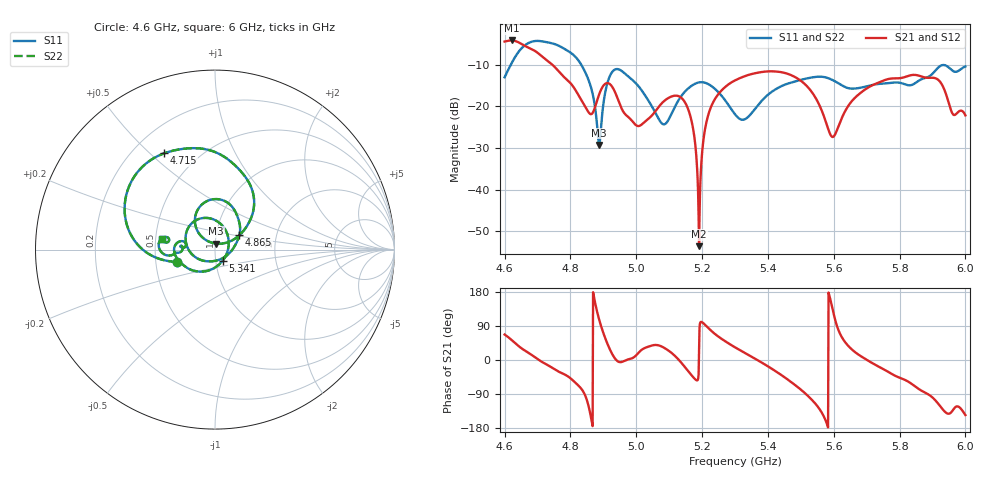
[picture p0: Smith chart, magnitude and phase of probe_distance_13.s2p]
! TOUCHSTONE file generated by CST MICROWAVE STUDIO
! Date and time: Sat Nov 30 13:10:55 2024
! Project name: test_tuning.cst
! Parameters = {airCoaxOuterDiameter=3; chamferAngle=45; chamferWidth=24; connectorLength=10; drillingHoleDiameter=4.1; feedLength=60; flareDiameter=130; flareLength=70; gratingDistance=0; gratingGap=1.90274; outletLength=30; polarizerLength=134; probe1Diameter=1.3; probe1Distance=14; probe1Length=1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
! Header version: 2024
! Port assignment regex: !\s*Touchstone port\s*([0-9]+)\s*=\s*(CST MWS port|CST DES external port|CST DES block port)\s*(.+)\s* \(\"(.*)\"\)(\s*mode\s*([0-9]+))?.*
! Touchstone port assignment:
! Touchstone port 1 = CST MWS port 1 ("Input1")
! Touchstone port 2 = CST MWS port 2 ("Input2")
# GHz S MA R 50
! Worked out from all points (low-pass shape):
!   1001 points, 4.6 GHz to 6 GHz, reference 50 ohm
!   highest |S21| = -4.12 dB at 4.621 GHz (marker M1); lowest = -53.6 dB at 5.191 GHz (marker M2)
!   |S21| within 3 dB of the highest: start of sweep to 4.701 GHz
!   lowest |S11| = -29.3 dB at 4.887 GHz (marker M3), VSWR 1.07, Z = 50.6 + j3.41 ohm
!   |S11| at or under -10 dB: start of sweep to 4.618593 GHz; 4.833 GHz to end of sweep
!   |S22| runs from -29.3 to -4.2 dB; largest |S21 - S12| = 5.5e-07
!   S11 on the Smith chart (normalised r, x): 4.6 GHz: 0.64, -0.09; 4.715 GHz: 0.33, +0.56; 4.865 GHz: 1.30, +0.21; 5.341 GHz: 1.08, -0.13; 6 GHz: 0.54, +0.07
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4.6  0.2244 -161.9  0.6032 67.3  0.6032 67.3  0.2244 -161.9
4.621  0.3298 -172.1  0.6222 52.9  0.6222 52.9  0.3298 -172.1
4.6658  0.5589 154.2  0.525 22.6  0.525 22.6  0.5589 154.2
4.7148  0.6063 117.7  0.3959 -5.7  0.3959 -5.7  0.6063 117.7
4.8338  0.3131 46.5  0.1174 -76.7  0.1174 -76.7  0.3131 46.5
4.8646  0.158 30.5  0.08114 -161.2  0.08114 -161.2  0.158 30.5
4.887  0.03431 78.9  0.1388 107.4  0.1388 107.4  0.03431 78.9
4.9122  0.1908 125.9  0.1909 43.3  0.1909 43.3  0.1908 125.9
4.9388  0.2811 91.4  0.1384 0.3  0.1384 0.3  0.2811 91.4
5.0032  0.1821 39.7  0.05827 15.5  0.05827 15.5  0.1821 39.7
5.0676  0.07136 -30.5  0.09804 38.7  0.09804 38.7  0.07136 -30.5
5.1516  0.1561 173.9  0.1054 -22.8  0.1054 -22.8  0.1561 173.9
5.174  0.1832 152.1  0.05015 -46.4  0.05015 -46.4  0.1832 152.1
5.1908  0.1946 135.6  0.002079 23.5  0.002079 23.5  0.1946 135.6
5.2216  0.183 105.1  0.08595 82.2  0.08595 82.2  0.183 105.1
5.3  0.08041 18.9  0.2055 33.5  0.2055 33.5  0.08041 18.9
5.3406  0.0752 -55.4  0.2392 13.4  0.2392 13.4  0.0752 -55.4
5.5338  0.2232 -171.6  0.1481 -105.3  0.1481 -105.3  0.2232 -171.6
5.5968  0.2075 168.1  0.04288 133.2  0.04288 133.2  0.2075 168.1
5.7676  0.1907 175.7  0.2144 -32.5  0.2144 -32.5  0.1907 175.7
5.9104  0.2746 -173.6  0.2173 -108.0  0.2173 -108.0  0.2746 -173.6
6  0.3026 169.1  0.07799 -145.3  0.07799 -145.3  0.3026 169.1
